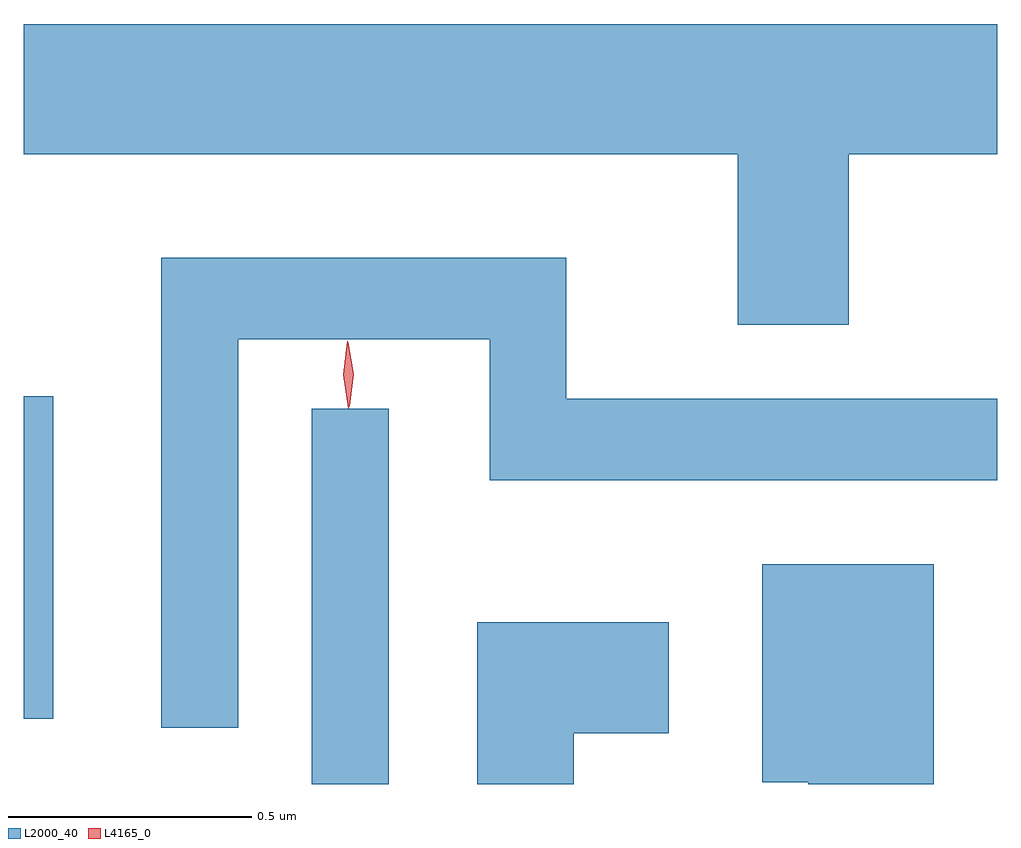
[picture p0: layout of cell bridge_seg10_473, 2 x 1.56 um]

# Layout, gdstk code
import gdstk
lib = gdstk.Library(unit=1e-6, precision=1e-09)
def R(c, l, rs):  # rectangles x0, y0, x1, y1
    for r in rs: c.add(gdstk.rectangle(r[:2], r[2:], *l))
def P(c, l, *ps):  # polygons
    for p in ps: c.add(gdstk.Polygon(p, *l))
L2000_40 = (2000, 40)
L4165_0 = (4165, 0)

bridge_seg10_473 = lib.new_cell('bridge_seg10_473')
R(bridge_seg10_473, L2000_40, [(1444.466,2121.502,1444.624,2122.273), (1443.874,2121.636,1443.934,2122.299)])
P(bridge_seg10_473, L2000_40, [(1445.569,2122.796),(1445.874,2122.796),(1445.874,2123.064),(1443.874,2123.064),(1443.874,2122.796),(1445.341,2122.796),(1445.341,2122.446),(1445.569,2122.446)],
  [(1444.314,2122.416),(1444.831,2122.416),(1444.831,2122.126),(1445.874,2122.126),(1445.874,2122.294),(1444.989,2122.294),(1444.989,2122.584),(1444.156,2122.584),(1444.156,2121.618),(1444.314,2121.618)],
  [(1445.744,2121.954),(1445.391,2121.954),(1445.391,2121.506),(1445.486,2121.506),(1445.486,2121.502),(1445.744,2121.502)],
  [(1445.004,2121.606),(1445.199,2121.606),(1445.199,2121.834),(1444.806,2121.834),(1444.806,2121.502),(1445.004,2121.502)])
P(bridge_seg10_473, L4165_0, [(1444.541,2122.274),(1444.541,2122.274),(1444.53,2122.343),(1444.538,2122.412),(1444.538,2122.413),(1444.539,2122.412),(1444.55,2122.343),(1444.542,2122.274)],
  [(1444.544,2122.277),(1444.543,2122.278),(1444.532,2122.343),(1444.54,2122.41),(1444.541,2122.41),(1444.541,2122.41),(1444.552,2122.344),(1444.544,2122.278)])

lib.write_gds('bridge_seg10_473.gds')
